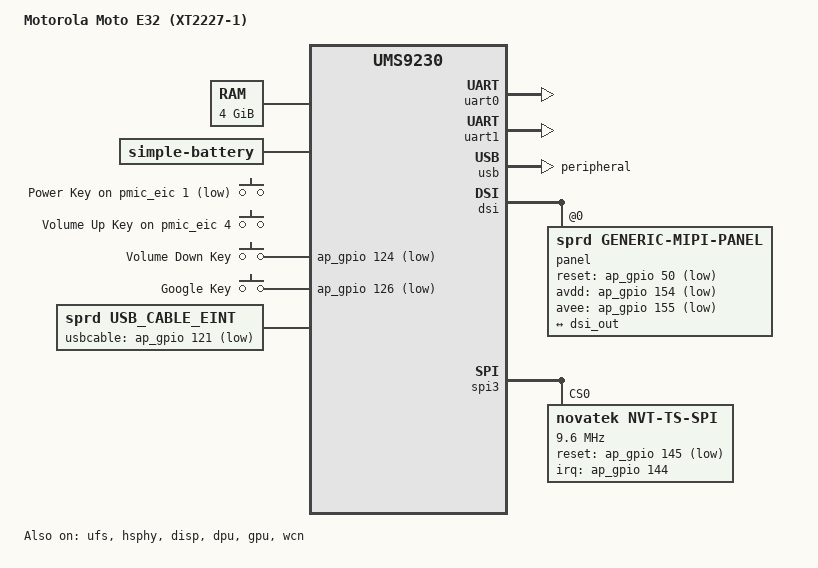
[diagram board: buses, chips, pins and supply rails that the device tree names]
// SPDX-License-Identifier: (GPL-2.0 OR MIT)
/*
 * Motorola Moto E32 (XT2227-1, "hawaii", board 4h10) - Unisoc UMS9230 / T606
 *
 * Self-contained 7.1 board description.  The board-level DT nodes the
 * vendor-derived 7.1 drivers need are ported from the stock 4.14 DTB so the
 * kernel can boot from its own DTB instead of relying on the bootloader's
 * vendor DTB + dtbo merge.  The drivers keep their vendor-path fallbacks
 * (harmless no-ops on this tree).
 */
/dts-v1/;

#include <dt-bindings/gpio/gpio.h>
#include <dt-bindings/input/input.h>
#include <dt-bindings/interrupt-controller/irq.h>

#include "ums9230.dtsi"
#include "sc2730.dtsi"
#include "lcd_nt36525c_boe_mipi_fhd.dtsi"

/ {
	model = "Motorola Moto E32 (XT2227-1)";
	compatible = "motorola,hawaii", "sprd,ums9230-4h10", "sprd,ums9230";

	aliases {
		serial0 = &uart0;
		serial1 = &uart1;
	};

	chosen {
		stdout-path = "serial1:115200n8";
	};

	memory@80000000 {
		device_type = "memory";
		/* measured on the device: 4 GiB with the namespace carve-out */
		reg = <0x0 0x80000000 0x0 0x53f0000>,
		      <0x0 0x85400000 0x0 0xfabff000>;
	};

	reserved-memory {
		logobuffer@9e000000 {
			reg = <0x0 0x9e000000 0x0 0xab0000>;
			/* NOT no-map: diag_stage.h paints this through the
			 * linear map (phys_to_virt) */
		};

		ramoops@fff80000 {
			compatible = "ramoops";
			reg = <0x0 0xfff80000 0x0 0x40000>;
			console-size = <0x8000>;
			record-size = <0x8000>;
			pmsg-size = <0x8000>;
		};
	};

	battery: battery {
		compatible = "simple-battery";
		charge-full-design-microamp-hours = <4850000>;
		charge-term-current-microamp = <130000>;
		constant-charge-voltage-max-microvolt = <4400000>;
		voltage-min-design-microvolt = <3500000>;
		voltage-max-design-microvolt = <4370000>;
	};

	gpio-keys {
		compatible = "gpio-keys";

		key-power {
			wakeup-source;
			debounce-interval = <2>;
			gpios = <&pmic_eic 1 GPIO_ACTIVE_LOW>;
			linux,code = <KEY_POWER>;
			label = "Power Key";
		};

		key-volumeup {
			wakeup-source;
			debounce-interval = <2>;
			gpios = <&pmic_eic 4 GPIO_ACTIVE_HIGH>;
			linux,code = <KEY_VOLUMEUP>;
			label = "Volume Up Key";
		};

		key-volumedown {
			wakeup-source;
			debounce-interval = <2>;
			gpios = <&ap_gpio 124 GPIO_ACTIVE_LOW>;
			linux,code = <KEY_VOLUMEDOWN>;
			label = "Volume Down Key";
		};

		key-google {
			wakeup-source;
			debounce-interval = <2>;
			gpios = <&ap_gpio 126 GPIO_ACTIVE_LOW>;
			linux,code = <249>;
			label = "Google Key";
		};
	};

	usb_cable {
		compatible = "sprd,usb_cable_eint";
		usbcable-gpio = <&ap_gpio 121 GPIO_ACTIVE_LOW>;
		debounce = <250000>;
		status = "okay";
	};
};

&uart0 { status = "okay"; };
&uart1 { status = "okay"; };

/*
 * The PMIC soft reset lives in the sprd-adi driver's qogirl6 variant; the
 * "sprd,ums512-adi" fallback has no ->restart callback and would win the
 * of_match table walk, so drop it here.
 */
&adi_bus {
	compatible = "sprd,qogirl6-adi", "sprd,ums9230-adi";
};

/* Storage */
&ufs {
	status = "okay";
};

/* USB gadget (CDC-ACM serial console on ttyGS0) */
&usb {
	status = "okay";
	dr_mode = "peripheral";
};

&hsphy {
	status = "okay";
	phy-supply = <&vddusb33>;
};

/* Display: DPU -> DSI -> BOE NT36525C panel (DCS table in the /lcds node) */
&disp {
	status = "okay";
};

&dpu {
	status = "okay";
};

&dsi {
	status = "okay";
	#address-cells = <1>;
	#size-cells = <0>;

	panel@0 {
		compatible = "sprd,generic-mipi-panel";
		reg = <0>;
		reset-gpios = <&ap_gpio 50 GPIO_ACTIVE_LOW>;
		avdd-gpios = <&ap_gpio 154 GPIO_ACTIVE_LOW>;
		avee-gpios = <&ap_gpio 155 GPIO_ACTIVE_LOW>;

		port {
			panel_in: endpoint {
				remote-endpoint = <&dsi_out>;
			};
		};
	};
};

&dsi_out {
	remote-endpoint = <&panel_in>;
};

/* GPU */
&gpu {
	status = "okay";
	mali-supply = <&vddgpu>;
};

/* Novatek NT36xxx touch controller on SPI3 (irq/reset on the AP GPIO bank) */
&spi3 {
	status = "okay";
	#address-cells = <1>;
	#size-cells = <0>;

	novatek@0 {
		compatible = "novatek,NVT-ts-spi";
		reg = <0>;
		spi-max-frequency = <9600000>;
		novatek,reset-gpio = <&ap_gpio 145 GPIO_ACTIVE_LOW>;
		novatek,irq-gpio = <&ap_gpio 144 GPIO_ACTIVE_HIGH>;
		novatek,swrst-n8-addr = <0x03f0fe>;
		novatek,spi-rd-fast-addr = <0x03f310>;
	};
};

/* WCN (SC2355 WiFi + BT over SDIO/UART) */
&wcn {
	status = "okay";
	vdd-supply = <&vddwcn>;
	vddwifipa-supply = <&vddwifipa>;
	dcxo1v8-supply = <&vddsim2>;
};

/* Regulators needed by the enabled blocks */
&vddusb33 { regulator-always-on; };
&vddemmccore { regulator-always-on; };
